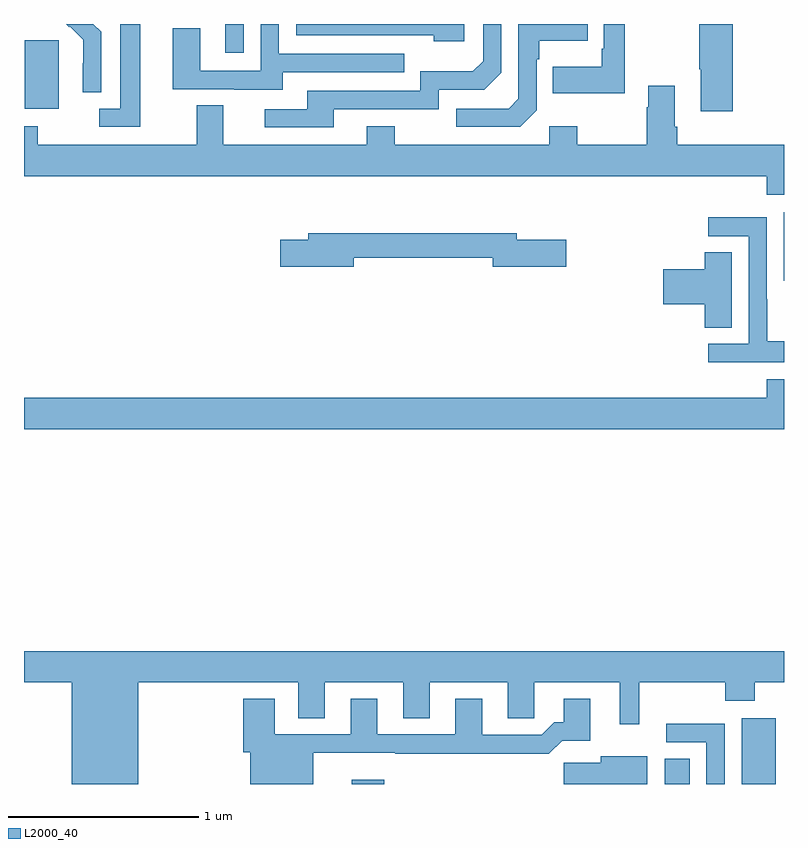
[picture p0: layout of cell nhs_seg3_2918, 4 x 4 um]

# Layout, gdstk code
import gdstk
lib = gdstk.Library(unit=1e-6, precision=1e-09)
def R(c, l, rs):  # rectangles x0, y0, x1, y1
    for r in rs: c.add(gdstk.rectangle(r[:2], r[2:], *l))
def P(c, l, *ps):  # polygons
    for p in ps: c.add(gdstk.Polygon(p, *l))
L2000_40 = (2000, 40)

nhs_seg3_2918 = lib.new_cell('nhs_seg3_2918')
R(nhs_seg3_2918, L2000_40, [(264.725,680.4,264.896,680.422), (266.372,680.4,266.503,680.534), (266.777,680.4,266.956,680.746), (266.999,683.049,267,683.41), (263.003,683.954,263.182,684.315), (264.059,684.249,264.156,684.4)])
P(nhs_seg3_2918, L2000_40, [(265.698,683.946),(265.698,684.215),(265.711,684.215),(265.711,684.311),(265.967,684.311),(265.967,684.4),(265.602,684.4),(265.602,684.006),(265.551,683.955),(265.275,683.955),(265.275,683.859),(265.611,683.859)],
  [(263.406,684.358),(263.364,684.4),(263.222,684.4),(263.238,684.384),(263.241,684.387),(263.312,684.317),(263.312,684.194),(263.31,684.194),(263.31,684.04),(263.406,684.04)],
  [(264.631,683.952),(265.182,683.952),(265.182,684.054),(265.422,684.054),(265.512,684.144),(265.512,684.4),(265.416,684.4),(265.416,684.204),(265.363,684.151),(265.086,684.151),(265.086,684.048),(264.491,684.048),(264.491,683.952),(264.267,683.952),(264.267,683.856),(264.631,683.856)],
  [(266.729,684.4),(266.554,684.4),(266.554,684.163),(266.561,684.163),(266.561,683.94),(266.729,683.94)],
  [(265.318,684.4),(264.432,684.4),(264.432,684.342),(265.157,684.342),(265.157,684.308),(265.318,684.308)],
  [(266.161,684.4),(266.052,684.4),(266.052,684.271),(266.04,684.271),(266.04,684.175),(265.783,684.175),(265.783,684.035),(266.161,684.035)],
  [(264.361,684.147),(265.001,684.147),(265.001,684.243),(264.342,684.243),(264.342,684.4),(264.246,684.4),(264.246,684.153),(263.928,684.153),(263.928,684.377),(263.783,684.377),(263.783,684.057),(264.107,684.057),(264.107,684.053),(264.361,684.053)],
  [(263.611,684.4),(263.507,684.4),(263.507,683.955),(263.397,683.955),(263.397,683.859),(263.611,683.859)],
  [(267,683.764),(266.438,683.764),(266.438,683.86),(266.425,683.86),(266.425,684.076),(266.285,684.076),(266.285,683.963),(266.278,683.963),(266.278,683.764),(265.911,683.764),(265.911,683.863),(265.764,683.863),(265.764,683.764),(264.951,683.764),(264.951,683.863),(264.803,683.863),(264.803,683.764),(264.049,683.764),(264.049,683.972),(263.909,683.972),(263.909,683.764),(263.073,683.764),(263.073,683.863),(263,683.863),(263,683.6),(266.909,683.6),(266.909,683.501),(267,683.501)],
  [(267,682.729),(266.913,682.729),(266.913,682.952),(266.91,682.952),(266.91,683.382),(266.601,683.382),(266.601,683.283),(266.814,683.283),(266.814,682.716),(266.601,682.716),(266.601,682.62),(267,682.62)],
  [(264.736,683.17),(265.466,683.17),(265.466,683.123),(265.855,683.123),(265.855,683.265),(265.594,683.265),(265.594,683.299),(264.497,683.299),(264.497,683.265),(264.348,683.265),(264.348,683.123),(264.736,683.123)],
  [(266.725,683.198),(266.582,683.198),(266.582,683.108),(266.364,683.108),(266.364,682.925),(266.582,682.925),(266.582,682.801),(266.725,682.801)],
  [(267,682.531),(266.909,682.531),(266.909,682.432),(263,682.432),(263,682.268),(267,682.268)],
  [(263.602,680.936),(264.443,680.936),(264.443,680.746),(264.583,680.746),(264.583,680.936),(264.995,680.936),(264.995,680.746),(265.135,680.746),(265.135,680.936),(265.547,680.936),(265.547,680.746),(265.686,680.746),(265.686,680.936),(266.135,680.936),(266.135,680.715),(266.239,680.715),(266.239,680.936),(266.692,680.936),(266.692,680.837),(266.847,680.837),(266.847,680.936),(267,680.936),(267,681.1),(263,681.1),(263,680.936),(263.252,680.936),(263.252,680.4),(263.602,680.4)],
  [(264.523,680.564),(264.955,680.564),(264.955,680.56),(265.507,680.56),(265.507,680.558),(265.763,680.558),(265.832,680.627),(265.981,680.627),(265.981,680.848),(265.841,680.848),(265.841,680.725),(265.792,680.725),(265.725,680.658),(265.411,680.658),(265.411,680.848),(265.271,680.848),(265.271,680.661),(264.859,680.661),(264.859,680.848),(264.719,680.848),(264.719,680.661),(264.319,680.661),(264.319,680.848),(264.155,680.848),(264.155,680.568),(264.191,680.568),(264.191,680.4),(264.523,680.4)],
  [(266.688,680.718),(266.379,680.718),(266.379,680.619),(266.592,680.619),(266.592,680.4),(266.688,680.4)],
  [(266.281,680.545),(266.036,680.545),(266.036,680.513),(265.842,680.513),(265.842,680.4),(266.281,680.4)])

lib.write_gds('nhs_seg3_2918.gds')
